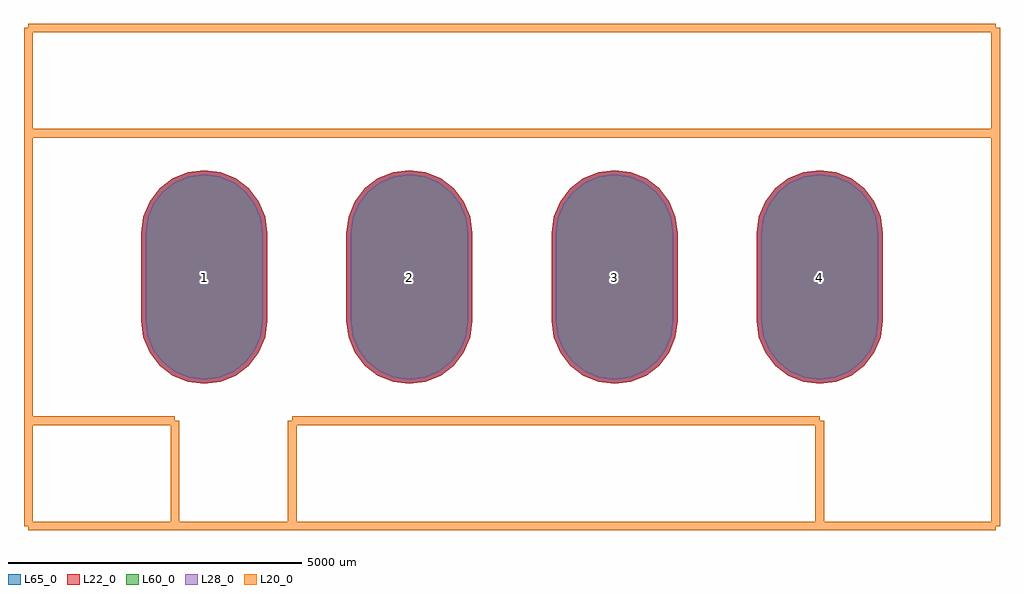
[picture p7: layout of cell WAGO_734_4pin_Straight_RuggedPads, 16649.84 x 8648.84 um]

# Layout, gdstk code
import gdstk
lib = gdstk.Library(unit=1e-6, precision=1e-09)
def P(c, l, *ps):  # polygons
    for p in ps: c.add(gdstk.Polygon(p, *l))
L20_0 = (20, 0)
L22_0 = (22, 0)
L28_0 = (28, 0)
L60_0 = (60, 0)
L65_0 = (65, 0)

wago_734_4pin_straight_r = lib.new_cell('WAGO_734_4pin_Straight_RuggedPads')
P(wago_734_4pin_straight_r, L22_0, [(5250.18,-1825.06),(5528.278,-1788.448),(5787.425,-1681.106),(6009.959,-1510.349),(6180.716,-1287.815),(6288.058,-1028.668),(6324.67,-750.57),(6324.67,750.57),(6288.058,1028.668),(6180.716,1287.815),(6009.959,1510.349),(5787.425,1681.106),(5528.278,1788.448),(5250.18,1825.06),(4972.082,1788.448),(4712.935,1681.106),(4490.401,1510.349),(4319.644,1287.815),(4212.302,1028.668),(4175.69,750.57),(4175.69,-750.57),(4212.302,-1028.668),(4319.644,-1287.815),(4490.401,-1510.349),(4712.935,-1681.106),(4972.082,-1788.448)],
  [(1750.06,-1825.06),(2028.158,-1788.448),(2287.305,-1681.106),(2509.839,-1510.349),(2680.596,-1287.815),(2787.938,-1028.668),(2824.55,-750.57),(2824.55,750.57),(2787.938,1028.668),(2680.596,1287.815),(2509.839,1510.349),(2287.305,1681.106),(2028.158,1788.448),(1750.06,1825.06),(1471.962,1788.448),(1212.815,1681.106),(990.281,1510.349),(819.524,1287.815),(712.182,1028.668),(675.57,750.57),(675.57,-750.57),(712.182,-1028.668),(819.524,-1287.815),(990.281,-1510.349),(1212.815,-1681.106),(1471.962,-1788.448)],
  [(-5250.18,-1825.06),(-4972.082,-1788.448),(-4712.935,-1681.106),(-4490.401,-1510.349),(-4319.644,-1287.815),(-4212.302,-1028.668),(-4175.69,-750.57),(-4175.69,750.57),(-4212.302,1028.668),(-4319.644,1287.815),(-4490.401,1510.349),(-4712.935,1681.106),(-4972.082,1788.448),(-5250.18,1825.06),(-5528.278,1788.448),(-5787.425,1681.106),(-6009.959,1510.349),(-6180.716,1287.815),(-6288.058,1028.668),(-6324.67,750.57),(-6324.67,-750.57),(-6288.058,-1028.668),(-6180.716,-1287.815),(-6009.959,-1510.349),(-5787.425,-1681.106),(-5528.278,-1788.448)],
  [(-1750.06,-1825.06),(-1471.962,-1788.448),(-1212.815,-1681.106),(-990.281,-1510.349),(-819.524,-1287.815),(-712.182,-1028.668),(-675.57,-750.57),(-675.57,750.57),(-712.182,1028.668),(-819.524,1287.815),(-990.281,1510.349),(-1212.815,1681.106),(-1471.962,1788.448),(-1750.06,1825.06),(-2028.158,1788.448),(-2287.305,1681.106),(-2509.839,1510.349),(-2680.596,1287.815),(-2787.938,1028.668),(-2824.55,750.57),(-2824.55,-750.57),(-2787.938,-1028.668),(-2680.596,-1287.815),(-2509.839,-1510.349),(-2287.305,-1681.106),(-2028.158,-1788.448)])
P(wago_734_4pin_straight_r, L28_0, [(5250.18,-1750.06),(5508.867,-1716.003),(5749.925,-1616.154),(5956.926,-1457.316),(6115.764,-1250.315),(6215.613,-1009.257),(6249.67,-750.57),(6249.67,750.57),(6215.613,1009.257),(6115.764,1250.315),(5956.926,1457.316),(5749.925,1616.154),(5508.867,1716.003),(5250.18,1750.06),(4991.493,1716.003),(4750.435,1616.154),(4543.434,1457.316),(4384.596,1250.315),(4284.747,1009.257),(4250.69,750.57),(4250.69,-750.57),(4284.747,-1009.257),(4384.596,-1250.315),(4543.434,-1457.316),(4750.435,-1616.154),(4991.493,-1716.003)],
  [(1750.06,-1750.06),(2008.747,-1716.003),(2249.805,-1616.154),(2456.806,-1457.316),(2615.644,-1250.315),(2715.493,-1009.257),(2749.55,-750.57),(2749.55,750.57),(2715.493,1009.257),(2615.644,1250.315),(2456.806,1457.316),(2249.805,1616.154),(2008.747,1716.003),(1750.06,1750.06),(1491.373,1716.003),(1250.315,1616.154),(1043.314,1457.316),(884.476,1250.315),(784.627,1009.257),(750.57,750.57),(750.57,-750.57),(784.627,-1009.257),(884.476,-1250.315),(1043.314,-1457.316),(1250.315,-1616.154),(1491.373,-1716.003)],
  [(-5250.18,-1750.06),(-4991.493,-1716.003),(-4750.435,-1616.154),(-4543.434,-1457.316),(-4384.596,-1250.315),(-4284.747,-1009.257),(-4250.69,-750.57),(-4250.69,750.57),(-4284.747,1009.257),(-4384.596,1250.315),(-4543.434,1457.316),(-4750.435,1616.154),(-4991.493,1716.003),(-5250.18,1750.06),(-5508.867,1716.003),(-5749.925,1616.154),(-5956.926,1457.316),(-6115.764,1250.315),(-6215.613,1009.257),(-6249.67,750.57),(-6249.67,-750.57),(-6215.613,-1009.257),(-6115.764,-1250.315),(-5956.926,-1457.316),(-5749.925,-1616.154),(-5508.867,-1716.003)],
  [(-1750.06,-1750.06),(-1491.373,-1716.003),(-1250.315,-1616.154),(-1043.314,-1457.316),(-884.476,-1250.315),(-784.627,-1009.257),(-750.57,-750.57),(-750.57,750.57),(-784.627,1009.257),(-884.476,1250.315),(-1043.314,1457.316),(-1250.315,1616.154),(-1491.373,1716.003),(-1750.06,1750.06),(-2008.747,1716.003),(-2249.805,1616.154),(-2456.806,1457.316),(-2615.644,1250.315),(-2715.493,1009.257),(-2749.55,750.57),(-2749.55,-750.57),(-2715.493,-1009.257),(-2615.644,-1250.315),(-2456.806,-1457.316),(-2249.805,-1616.154),(-2008.747,-1716.003)])
P(wago_734_4pin_straight_r, L60_0, [(5250.18,-1750.06),(5508.867,-1716.003),(5749.925,-1616.154),(5956.926,-1457.316),(6115.764,-1250.315),(6215.613,-1009.257),(6249.67,-750.57),(6249.67,750.57),(6215.613,1009.257),(6115.764,1250.315),(5956.926,1457.316),(5749.925,1616.154),(5508.867,1716.003),(5250.18,1750.06),(4991.493,1716.003),(4750.435,1616.154),(4543.434,1457.316),(4384.596,1250.315),(4284.747,1009.257),(4250.69,750.57),(4250.69,-750.57),(4284.747,-1009.257),(4384.596,-1250.315),(4543.434,-1457.316),(4750.435,-1616.154),(4991.493,-1716.003)],
  [(1750.06,-1750.06),(2008.747,-1716.003),(2249.805,-1616.154),(2456.806,-1457.316),(2615.644,-1250.315),(2715.493,-1009.257),(2749.55,-750.57),(2749.55,750.57),(2715.493,1009.257),(2615.644,1250.315),(2456.806,1457.316),(2249.805,1616.154),(2008.747,1716.003),(1750.06,1750.06),(1491.373,1716.003),(1250.315,1616.154),(1043.314,1457.316),(884.476,1250.315),(784.627,1009.257),(750.57,750.57),(750.57,-750.57),(784.627,-1009.257),(884.476,-1250.315),(1043.314,-1457.316),(1250.315,-1616.154),(1491.373,-1716.003)],
  [(-5250.18,-1750.06),(-4991.493,-1716.003),(-4750.435,-1616.154),(-4543.434,-1457.316),(-4384.596,-1250.315),(-4284.747,-1009.257),(-4250.69,-750.57),(-4250.69,750.57),(-4284.747,1009.257),(-4384.596,1250.315),(-4543.434,1457.316),(-4750.435,1616.154),(-4991.493,1716.003),(-5250.18,1750.06),(-5508.867,1716.003),(-5749.925,1616.154),(-5956.926,1457.316),(-6115.764,1250.315),(-6215.613,1009.257),(-6249.67,750.57),(-6249.67,-750.57),(-6215.613,-1009.257),(-6115.764,-1250.315),(-5956.926,-1457.316),(-5749.925,-1616.154),(-5508.867,-1716.003)],
  [(-1750.06,-1750.06),(-1491.373,-1716.003),(-1250.315,-1616.154),(-1043.314,-1457.316),(-884.476,-1250.315),(-784.627,-1009.257),(-750.57,-750.57),(-750.57,750.57),(-784.627,1009.257),(-884.476,1250.315),(-1043.314,1457.316),(-1250.315,1616.154),(-1491.373,1716.003),(-1750.06,1750.06),(-2008.747,1716.003),(-2249.805,1616.154),(-2456.806,1457.316),(-2615.644,1250.315),(-2715.493,1009.257),(-2749.55,750.57),(-2749.55,-750.57),(-2715.493,-1009.257),(-2615.644,-1250.315),(-2456.806,-1457.316),(-2249.805,-1616.154),(-2008.747,-1716.003)])
P(wago_734_4pin_straight_r, L65_0, [(5250.18,-1825.06),(5528.278,-1788.448),(5787.425,-1681.106),(6009.959,-1510.349),(6180.716,-1287.815),(6288.058,-1028.668),(6324.67,-750.57),(6324.67,750.57),(6288.058,1028.668),(6180.716,1287.815),(6009.959,1510.349),(5787.425,1681.106),(5528.278,1788.448),(5250.18,1825.06),(4972.082,1788.448),(4712.935,1681.106),(4490.401,1510.349),(4319.644,1287.815),(4212.302,1028.668),(4175.69,750.57),(4175.69,-750.57),(4212.302,-1028.668),(4319.644,-1287.815),(4490.401,-1510.349),(4712.935,-1681.106),(4972.082,-1788.448)],
  [(1750.06,-1825.06),(2028.158,-1788.448),(2287.305,-1681.106),(2509.839,-1510.349),(2680.596,-1287.815),(2787.938,-1028.668),(2824.55,-750.57),(2824.55,750.57),(2787.938,1028.668),(2680.596,1287.815),(2509.839,1510.349),(2287.305,1681.106),(2028.158,1788.448),(1750.06,1825.06),(1471.962,1788.448),(1212.815,1681.106),(990.281,1510.349),(819.524,1287.815),(712.182,1028.668),(675.57,750.57),(675.57,-750.57),(712.182,-1028.668),(819.524,-1287.815),(990.281,-1510.349),(1212.815,-1681.106),(1471.962,-1788.448)],
  [(-5250.18,-1825.06),(-4972.082,-1788.448),(-4712.935,-1681.106),(-4490.401,-1510.349),(-4319.644,-1287.815),(-4212.302,-1028.668),(-4175.69,-750.57),(-4175.69,750.57),(-4212.302,1028.668),(-4319.644,1287.815),(-4490.401,1510.349),(-4712.935,1681.106),(-4972.082,1788.448),(-5250.18,1825.06),(-5528.278,1788.448),(-5787.425,1681.106),(-6009.959,1510.349),(-6180.716,1287.815),(-6288.058,1028.668),(-6324.67,750.57),(-6324.67,-750.57),(-6288.058,-1028.668),(-6180.716,-1287.815),(-6009.959,-1510.349),(-5787.425,-1681.106),(-5528.278,-1788.448)],
  [(-1750.06,-1825.06),(-1471.962,-1788.448),(-1212.815,-1681.106),(-990.281,-1510.349),(-819.524,-1287.815),(-712.182,-1028.668),(-675.57,-750.57),(-675.57,750.57),(-712.182,1028.668),(-819.524,1287.815),(-990.281,1510.349),(-1212.815,1681.106),(-1471.962,1788.448),(-1750.06,1825.06),(-2028.158,1788.448),(-2287.305,1681.106),(-2509.839,1510.349),(-2680.596,1287.815),(-2787.938,1028.668),(-2824.55,750.57),(-2824.55,-750.57),(-2787.938,-1028.668),(-2680.596,-1287.815),(-2509.839,-1510.349),(-2287.305,-1681.106),(-2028.158,-1788.448)])
wago_734_4pin_straight_r.add(gdstk.FlexPath([(8249.92,-4249.42),(0,-4249.42)], 149.998, ends="flush", simple_path=True, layer=20, datatype=0))  # L20_0
wago_734_4pin_straight_r.add(gdstk.FlexPath([(8249.92,4249.42),(8249.92,-4249.42)], 149.998, ends="flush", simple_path=True, layer=20, datatype=0))  # L20_0
wago_734_4pin_straight_r.add(gdstk.FlexPath([(-8249.92,4249.42),(8249.92,4249.42)], 149.998, ends="flush", simple_path=True, layer=20, datatype=0))  # L20_0
wago_734_4pin_straight_r.add(gdstk.FlexPath([(-8249.92,-4249.42),(-8249.92,4249.42)], 149.998, ends="flush", simple_path=True, layer=20, datatype=0))  # L20_0
wago_734_4pin_straight_r.add(gdstk.FlexPath([(0,-4249.42),(-8249.92,-4249.42)], 149.998, ends="flush", simple_path=True, layer=20, datatype=0))  # L20_0
wago_734_4pin_straight_r.add(gdstk.FlexPath([(-5750.56,-2451.1),(-5750.56,-4201.16)], 149.998, ends="flush", simple_path=True, layer=20, datatype=0))  # L20_0
wago_734_4pin_straight_r.add(gdstk.FlexPath([(-8249.92,-2451.1),(-5750.56,-2451.1)], 149.998, ends="flush", simple_path=True, layer=20, datatype=0))  # L20_0
wago_734_4pin_straight_r.add(gdstk.FlexPath([(-3749.04,-4249.42),(-3749.04,-2451.1)], 149.998, ends="flush", simple_path=True, layer=20, datatype=0))  # L20_0
wago_734_4pin_straight_r.add(gdstk.FlexPath([(5250.18,-2451.1),(-3749.04,-2451.1)], 149.998, ends="flush", simple_path=True, layer=20, datatype=0))  # L20_0
wago_734_4pin_straight_r.add(gdstk.FlexPath([(5250.18,-4249.42),(5250.18,-2451.1)], 149.998, ends="flush", simple_path=True, layer=20, datatype=0))  # L20_0
wago_734_4pin_straight_r.add(gdstk.FlexPath([(-8249.92,2451.1),(8249.92,2451.1)], 149.998, ends="flush", simple_path=True, layer=20, datatype=0))  # L20_0
wago_734_4pin_straight_r.add(gdstk.Label('4', (5250.18,0), layer=28, texttype=0))
wago_734_4pin_straight_r.add(gdstk.Label('3', (1750.06,0), layer=28, texttype=0))
wago_734_4pin_straight_r.add(gdstk.Label('1', (-5250.18,0), layer=28, texttype=0))
wago_734_4pin_straight_r.add(gdstk.Label('2', (-1750.06,0), layer=28, texttype=0))
wago_734_4pin_straight_r.add(gdstk.Label('type', (0,-6350), layer=9, texttype=0))
wago_734_4pin_straight_r.add(gdstk.Label('devicename', (0,6350), layer=9, texttype=0))

lib.write_gds('WAGO_734_4pin_Straight_RuggedPads.gds')
